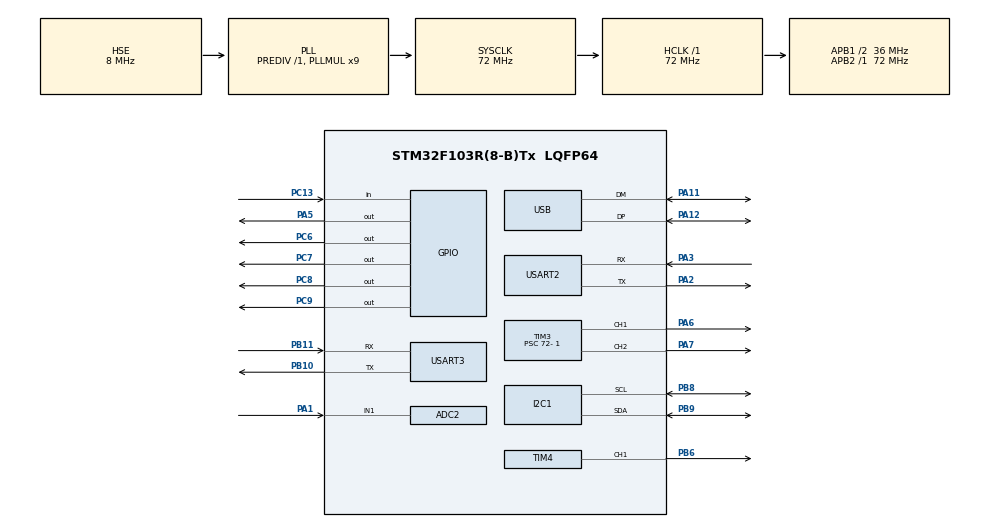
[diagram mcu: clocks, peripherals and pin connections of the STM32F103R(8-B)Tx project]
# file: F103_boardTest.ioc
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ADC2.Channel-0\#ChannelRegularConversion=ADC_CHANNEL_1
ADC2.ContinuousConvMode=ENABLE
ADC2.NbrOfConversionFlag=1
ADC2.Rank-0\#ChannelRegularConversion=1
ADC2.SamplingTime-0\#ChannelRegularConversion=ADC_SAMPLETIME_1CYCLE_5
Dma.Request0=USART3_TX
Dma.Request1=USART2_TX
Dma.USART2_TX.1.Direction=DMA_MEMORY_TO_PERIPH
Dma.USART2_TX.1.Instance=DMA1_Channel7
Dma.USART2_TX.1.MemDataAlignment=DMA_MDATAALIGN_BYTE
Dma.USART2_TX.1.MemInc=DMA_MINC_ENABLE
Dma.USART2_TX.1.Mode=DMA_NORMAL
Dma.USART2_TX.1.PeriphDataAlignment=DMA_PDATAALIGN_BYTE
Dma.USART2_TX.1.PeriphInc=DMA_PINC_DISABLE
Dma.USART2_TX.1.Priority=DMA_PRIORITY_MEDIUM
Dma.USART3_TX.0.Direction=DMA_MEMORY_TO_PERIPH
Dma.USART3_TX.0.Instance=DMA1_Channel2
Dma.USART3_TX.0.MemDataAlignment=DMA_MDATAALIGN_BYTE
Dma.USART3_TX.0.MemInc=DMA_MINC_ENABLE
Dma.USART3_TX.0.Mode=DMA_NORMAL
Dma.USART3_TX.0.PeriphDataAlignment=DMA_PDATAALIGN_BYTE
Dma.USART3_TX.0.PeriphInc=DMA_PINC_DISABLE
Dma.USART3_TX.0.Priority=DMA_PRIORITY_MEDIUM
Mcu.Family=STM32F1
Mcu.Name=STM32F103R(8-B)Tx
Mcu.Package=LQFP64
NVIC.DMA1_Channel2_IRQn=true\:0\:0\:false\:false\:true\:false\:true\:true
NVIC.DMA1_Channel7_IRQn=true\:0\:0\:false\:false\:true\:false\:true\:true
NVIC.PriorityGroup=NVIC_PRIORITYGROUP_4
NVIC.TIM1_UP_IRQn=true\:0\:0\:false\:false\:true\:true\:true\:true
NVIC.TIM2_IRQn=true\:0\:0\:false\:false\:true\:true\:true\:true
NVIC.USART2_IRQn=true\:0\:0\:false\:false\:true\:true\:true\:true
NVIC.USART3_IRQn=true\:0\:0\:false\:false\:true\:true\:true\:true
PA1.Signal=ADCx_IN1
PA11.Mode=Device
PA11.Signal=USB_DM
PA12.Mode=Device
PA12.Signal=USB_DP
PA13.Mode=Serial_Wire
PA13.Signal=SYS_JTMS-SWDIO
PA14.Mode=Serial_Wire
PA14.Signal=SYS_JTCK-SWCLK
PA2.Mode=Asynchronous
PA2.Signal=USART2_TX
PA3.Mode=Asynchronous
PA3.Signal=USART2_RX
PA5.Signal=GPIO_Output
PA6.Signal=S_TIM3_CH1
PA7.Signal=S_TIM3_CH2
PB10.Mode=Asynchronous
PB10.Signal=USART3_TX
PB11.Mode=Asynchronous
PB11.Signal=USART3_RX
PB6.Signal=S_TIM4_CH1
PB8.Mode=I2C
PB8.Signal=I2C1_SCL
PB9.Mode=I2C
PB9.Signal=I2C1_SDA
PC13-TAMPER-RTC.Signal=GPIO_Input
PC6.Signal=GPIO_Output
PC7.Signal=GPIO_Output
PC8.Signal=GPIO_Output
PC9.Signal=GPIO_Output
PD0-OSC_IN.Mode=HSE-External-Oscillator
PD0-OSC_IN.Signal=RCC_OSC_IN
PD1-OSC_OUT.Mode=HSE-External-Oscillator
PD1-OSC_OUT.Signal=RCC_OSC_OUT
ProjectManager.HeapSize=0x200
ProjectManager.StackSize=0x400
ProjectManager.TargetToolchain=STM32CubeIDE
RCC.ADCPresc=RCC_ADCPCLK2_DIV6
RCC.AHBFreq_Value=72000000
RCC.APB1CLKDivider=RCC_HCLK_DIV2
RCC.APB1Freq_Value=36000000
RCC.APB1TimFreq_Value=72000000
RCC.APB2Freq_Value=72000000
RCC.APB2TimFreq_Value=72000000
RCC.HCLKFreq_Value=72000000
RCC.PLLMUL=RCC_PLL_MUL9
RCC.SYSCLKFreq_VALUE=72000000
RCC.SYSCLKSource=RCC_SYSCLKSOURCE_PLLCLK
RCC.USBFreq_Value=48000000
RCC.USBPrescaler=RCC_USBCLKSOURCE_PLL_DIV1_5
SH.ADCx_IN1.0=ADC2_IN1,IN1
SH.S_TIM3_CH1.0=TIM3_CH1,PWM Generation1 CH1
SH.S_TIM3_CH2.0=TIM3_CH2,PWM Generation2 CH2
SH.S_TIM4_CH1.0=TIM4_CH1,PWM Generation1 CH1
TIM1.Period=10000 - 1
TIM1.Prescaler=7200 - 1
TIM2.Period=10 - 1
TIM2.Prescaler=7200 - 1
TIM3.Channel-PWM\ Generation1\ CH1=TIM_CHANNEL_1
TIM3.Channel-PWM\ Generation2\ CH2=TIM_CHANNEL_2
TIM3.Period=1000 - 1
TIM3.Prescaler=72- 1
TIM3.Pulse-PWM\ Generation1\ CH1=0
TIM3.Pulse-PWM\ Generation2\ CH2=0
TIM4.Channel-PWM\ Generation1\ CH1=TIM_CHANNEL_1
TIM4.Period=16
TIM4.Prescaler=1000 - 1
TIM4.Pulse-PWM\ Generation1\ CH1=10
USART2.VirtualMode=VM_ASYNC
USART3.VirtualMode=VM_ASYNC
VP_TIM1_VS_ClockSourceINT.Mode=Internal
VP_TIM2_VS_ClockSourceINT.Mode=Internal
VP_TIM3_VS_ClockSourceINT.Mode=Internal
VP_TIM4_VS_ClockSourceINT.Mode=Internal
board=custom

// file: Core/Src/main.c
/* USER CODE BEGIN Header */
/**
  ******************************************************************************
  * @file           : main.c
  * @brief          : Main program body
  ******************************************************************************
  * @attention
  *
  * Copyright (c) 2025 STMicroelectronics.
  * All rights reserved.
  *
  * This software is licensed under terms that can be found in the LICENSE file
  * in the root directory of this software component.
  * If no LICENSE file comes with this software, it is provided AS-IS.
  *
  ******************************************************************************
  */
/* USER CODE END Header */
#include "main.h"
#include "adc.h"
#include "dma.h"
#include "i2c.h"
#include "tim.h"
#include "usart.h"
#include "usb.h"
#include "gpio.h"

/* USER CODE BEGIN Includes */
#include <math.h>
#include <string.h>
#include "mpu6050.h"
/* USER CODE END Includes */

/* USER CODE BEGIN PD */

MPU6050_config config;
MPU6050 mpu6050;
float aceelAngle_X;
float gyroAngle_X;
float X_angle;

float previousAngle = 0;
float angle = 0;
float setPoint = 0;
/*-------------------------------------------------------------------------------------*/
float bat = 0;

float MAX_SPEED = 999;
float deadzone = 540;//540;

float p, i, d;
float kp = 25;//20
float ki = 0;//0.08
float kd = 0.4;//0.7 max

float error;
float previousError;
int pidOutput = 0;

char message[100];
// test parameters;
//float test_aceelAngle_X;
//float test_gyroAngle_X;
//int test_count_tim = 0;
//int test_count_main = 0;
/* USER CODE END PD */

void SystemClock_Config(void);
/* USER CODE BEGIN PFP */

void sendUart(char *ptr) {
	HAL_UART_Transmit_DMA(&huart3, (uint8_t *)ptr, strlen(ptr));
}
float getVoltage() {
	float adcValue;
	float voltage;
	float totalVoltage;

    HAL_ADC_Start(&hadc2);
    HAL_ADC_PollForConversion(&hadc2, HAL_MAX_DELAY);
    HAL_ADC_Stop(&hadc2);

	adcValue = HAL_ADC_GetValue(&hadc2);
	voltage = adcValue * 0.000837;
	totalVoltage = voltage * 2.5;

	return totalVoltage;
}

float getAngle() {
	readAccel_MPU6050(&hi2c1, &mpu6050);
	readGyro_MPU6050(&hi2c1, &mpu6050);
	aceelAngle_X = atan((mpu6050.Ay)/(sqrt((pow(mpu6050.Ax, 2) + pow(mpu6050.Az, 2))))) * (180 / 3.14);
	gyroAngle_X = (mpu6050.Gx * 0.001);
	X_angle = (0.95 * (previousAngle + (gyroAngle_X * 0.001))) + (0.05 * aceelAngle_X);
	previousAngle = X_angle;
	return X_angle;
}

void go() {
	HAL_GPIO_WritePin(GPIOC, GPIO_PIN_6, 1);
	HAL_GPIO_WritePin(GPIOC, GPIO_PIN_7, 0);
	HAL_GPIO_WritePin(GPIOC, GPIO_PIN_8, 0);
	HAL_GPIO_WritePin(GPIOC, GPIO_PIN_9, 1);

	htim3.Instance->CCR1 = pidOutput;
	htim3.Instance->CCR2 = pidOutput;
}

void back() {
	HAL_GPIO_WritePin(GPIOC, GPIO_PIN_6, 0);
	HAL_GPIO_WritePin(GPIOC, GPIO_PIN_7, 1);
	HAL_GPIO_WritePin(GPIOC, GPIO_PIN_8, 1);
	HAL_GPIO_WritePin(GPIOC, GPIO_PIN_9, 0);

	htim3.Instance->CCR1 = pidOutput;
	htim3.Instance->CCR2 = pidOutput;
}

void stop() {
	HAL_GPIO_WritePin(GPIOC, GPIO_PIN_6, 0);
	HAL_GPIO_WritePin(GPIOC, GPIO_PIN_7, 0);
	HAL_GPIO_WritePin(GPIOC, GPIO_PIN_8, 0);
	HAL_GPIO_WritePin(GPIOC, GPIO_PIN_9, 0);
}

void pid() {
	 error = angle - setPoint;

	 p = kp * error;
	 i = i + (ki * error * 0.001);
	 d = kd * ((error - previousError) / 0.001);
	 previousError = error;
	 pidOutput = p + i + d;

	 if (pidOutput > 0)
		 pidOutput += deadzone;
	 else if (pidOutput < 0)
		 pidOutput -= deadzone;

	 if (pidOutput > MAX_SPEED)
		 pidOutput = MAX_SPEED;
	 else if (pidOutput < -MAX_SPEED)
		 pidOutput = -MAX_SPEED;

	 if (pidOutput < 0)
	     pidOutput *= -1;

	 if(error > 0)
		 go();
	 else if(error < 0)
		 back();
	 else //(error == 0)
		 stop();
}

void HAL_TIM_PeriodElapsedCallback(TIM_HandleTypeDef *htim) {
	// 1ms (1kHz)
	if (htim->Instance == TIM2) {
		angle = getAngle();
		pid();
	}
	// 1s
//	if (htim->Instance == TIM1) {
//		bat = getVoltage();
//		sprintf(message, "{\"bat\": %.2f, \"angle\": %.2f, \"setPoint\": %.2f}\r\n", bat, angle, setPoint);
//		sendUart(message);
//		test_count_tim++;
//	}
}

/* USER CODE END PFP */

int main(void)
{

  /* MCU Configuration--------------------------------------------------------*/

  /* Reset of all peripherals, Initializes the Flash interface and the Systick. */
  HAL_Init();

  /* Configure the system clock */
  SystemClock_Config();

  /* Initialize all configured peripherals */
  MX_GPIO_Init();
  MX_DMA_Init();
  MX_ADC2_Init();
  MX_USB_PCD_Init();
  MX_I2C1_Init();
  MX_TIM2_Init();
  MX_TIM4_Init();
  MX_TIM3_Init();
  MX_TIM1_Init();
  MX_USART2_UART_Init();
  MX_USART3_UART_Init();
  /* USER CODE BEGIN 2 */
  HAL_TIM_PWM_Start(&htim3, TIM_CHANNEL_1); //ENA
  HAL_TIM_PWM_Start(&htim3, TIM_CHANNEL_2); //ENB
  HAL_TIM_PWM_Start(&htim4, TIM_CHANNEL_1); //Buzzer
  HAL_GPIO_WritePin(GPIOA, GPIO_PIN_5, 0);
  config_MPU6050_DEFAULT(&config);

  TIM4->PSC = 2000;
  HAL_Delay(100);
  TIM4->PSC = 1500;
  HAL_Delay(100);
  TIM4->PSC = 1000;
  HAL_Delay(100);

  HAL_TIM_PWM_Stop(&htim4, TIM_CHANNEL_1); //Buzzer

  while(1){
	  if (init_MPU6050(&hi2c1, &config) == MPU6050_OK){
		  HAL_GPIO_WritePin(GPIOA, GPIO_PIN_5, 1);
		  break;
	  }
  }

  for (int i = 0; i< 100; i ++) {
	  setPoint += getAngle();
  }
  setPoint = setPoint / 100;

  HAL_TIM_Base_Start_IT(&htim2); //timer interrupt 1ms
  HAL_TIM_Base_Start_IT(&htim1); //timer interrupt 1s
  go();

  /* USER CODE END 2 */

  /* Infinite loop */
  /* USER CODE BEGIN WHILE */
  while (1) {
//	  if (bat < 6) {
//		  HAL_TIM_PWM_Start(&htim4, TIM_CHANNEL_1);
//	  }
//	  else
//		  HAL_TIM_PWM_Stop(&htim4, TIM_CHANNEL_1);

    /* USER CODE END WHILE */

  }
}

void SystemClock_Config(void)
{
  RCC_OscInitTypeDef RCC_OscInitStruct = {0};
  RCC_ClkInitTypeDef RCC_ClkInitStruct = {0};
  RCC_PeriphCLKInitTypeDef PeriphClkInit = {0};

  /** Initializes the RCC Oscillators according to the specified parameters
  * in the RCC_OscInitTypeDef structure.
  */
  RCC_OscInitStruct.OscillatorType = RCC_OSCILLATORTYPE_HSE;
  RCC_OscInitStruct.HSEState = RCC_HSE_ON;
  RCC_OscInitStruct.HSEPredivValue = RCC_HSE_PREDIV_DIV1;
  RCC_OscInitStruct.HSIState = RCC_HSI_ON;
  RCC_OscInitStruct.PLL.PLLState = RCC_PLL_ON;
  RCC_OscInitStruct.PLL.PLLSource = RCC_PLLSOURCE_HSE;
  RCC_OscInitStruct.PLL.PLLMUL = RCC_PLL_MUL9;
  if (HAL_RCC_OscConfig(&RCC_OscInitStruct) != HAL_OK)
  {
    Error_Handler();
  }

  /** Initializes the CPU, AHB and APB buses clocks
  */
  RCC_ClkInitStruct.ClockType = RCC_CLOCKTYPE_HCLK|RCC_CLOCKTYPE_SYSCLK
                              |RCC_CLOCKTYPE_PCLK1|RCC_CLOCKTYPE_PCLK2;
  RCC_ClkInitStruct.SYSCLKSource = RCC_SYSCLKSOURCE_PLLCLK;
  RCC_ClkInitStruct.AHBCLKDivider = RCC_SYSCLK_DIV1;
  RCC_ClkInitStruct.APB1CLKDivider = RCC_HCLK_DIV2;
  RCC_ClkInitStruct.APB2CLKDivider = RCC_HCLK_DIV1;

  if (HAL_RCC_ClockConfig(&RCC_ClkInitStruct, FLASH_LATENCY_2) != HAL_OK)
  {
    Error_Handler();
  }
  PeriphClkInit.PeriphClockSelection = RCC_PERIPHCLK_ADC|RCC_PERIPHCLK_USB;
  PeriphClkInit.AdcClockSelection = RCC_ADCPCLK2_DIV6;
  PeriphClkInit.UsbClockSelection = RCC_USBCLKSOURCE_PLL_DIV1_5;
  if (HAL_RCCEx_PeriphCLKConfig(&PeriphClkInit) != HAL_OK)
  {
    Error_Handler();
  }
}

void Error_Handler(void)
{
  __disable_irq();
  while (1)
  {
  }
}
